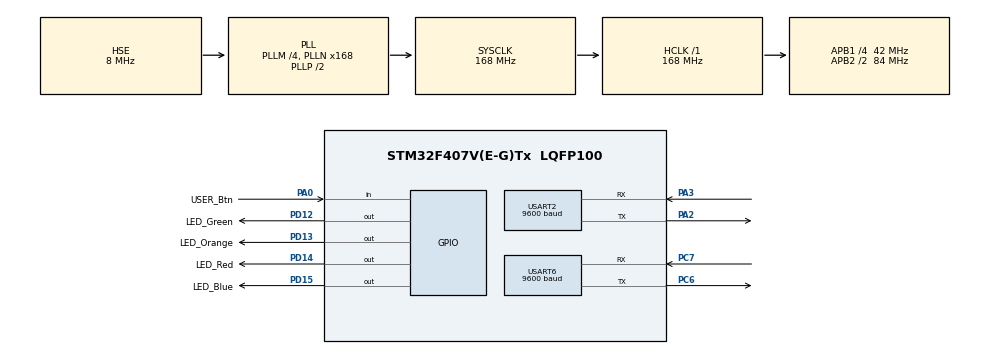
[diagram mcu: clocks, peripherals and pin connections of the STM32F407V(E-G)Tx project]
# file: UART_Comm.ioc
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Dma.Request0=USART2_RX
Dma.USART2_RX.0.Direction=DMA_PERIPH_TO_MEMORY
Dma.USART2_RX.0.FIFOMode=DMA_FIFOMODE_DISABLE
Dma.USART2_RX.0.Instance=DMA1_Stream5
Dma.USART2_RX.0.MemDataAlignment=DMA_MDATAALIGN_BYTE
Dma.USART2_RX.0.MemInc=DMA_MINC_ENABLE
Dma.USART2_RX.0.Mode=DMA_CIRCULAR
Dma.USART2_RX.0.PeriphDataAlignment=DMA_PDATAALIGN_BYTE
Dma.USART2_RX.0.PeriphInc=DMA_PINC_DISABLE
Dma.USART2_RX.0.Priority=DMA_PRIORITY_LOW
Mcu.Family=STM32F4
Mcu.Name=STM32F407V(E-G)Tx
Mcu.Package=LQFP100
NVIC.DMA1_Stream5_IRQn=true\:0\:0\:false\:false\:true\:false\:true\:true
NVIC.PriorityGroup=NVIC_PRIORITYGROUP_4
NVIC.USART2_IRQn=true\:0\:0\:false\:false\:true\:true\:true\:true
NVIC.USART6_IRQn=true\:0\:0\:false\:false\:true\:true\:true\:true
PA0-WKUP.GPIO_Label=USER_Btn
PA0-WKUP.Signal=GPIO_Input
PA13.Mode=Serial_Wire
PA13.Signal=SYS_JTMS-SWDIO
PA14.Mode=Serial_Wire
PA14.Signal=SYS_JTCK-SWCLK
PA2.Mode=Asynchronous
PA2.Signal=USART2_TX
PA3.Mode=Asynchronous
PA3.Signal=USART2_RX
PC6.Mode=Asynchronous
PC6.Signal=USART6_TX
PC7.Mode=Asynchronous
PC7.Signal=USART6_RX
PD12.GPIO_Label=LED_Green
PD12.Signal=GPIO_Output
PD13.GPIO_Label=LED_Orange
PD13.Signal=GPIO_Output
PD14.GPIO_Label=LED_Red
PD14.Signal=GPIO_Output
PD15.GPIO_Label=LED_Blue
PD15.Signal=GPIO_Output
PH0-OSC_IN.Mode=HSE-External-Oscillator
PH0-OSC_IN.Signal=RCC_OSC_IN
PH1-OSC_OUT.Mode=HSE-External-Oscillator
PH1-OSC_OUT.Signal=RCC_OSC_OUT
ProjectManager.HeapSize=0x200
ProjectManager.StackSize=0x400
ProjectManager.TargetToolchain=STM32CubeIDE
RCC.48MHZClocksFreq_Value=84000000
RCC.AHBFreq_Value=168000000
RCC.APB1CLKDivider=RCC_HCLK_DIV4
RCC.APB1Freq_Value=42000000
RCC.APB1TimFreq_Value=84000000
RCC.APB2CLKDivider=RCC_HCLK_DIV2
RCC.APB2Freq_Value=84000000
RCC.APB2TimFreq_Value=168000000
RCC.CortexFreq_Value=168000000
RCC.HCLKFreq_Value=168000000
RCC.HSE_VALUE=8000000
RCC.HSI_VALUE=16000000
RCC.LSE_VALUE=32768
RCC.PLLM=4
RCC.PLLN=168
RCC.PLLSourceVirtual=RCC_PLLSOURCE_HSE
RCC.SYSCLKFreq_VALUE=168000000
RCC.SYSCLKSource=RCC_SYSCLKSOURCE_PLLCLK
RCC.VCOOutputFreq_Value=336000000
USART2.BaudRate=9600
USART2.OverSampling=UART_OVERSAMPLING_8
USART2.VirtualMode=VM_ASYNC
USART2.WordLength=WORDLENGTH_8B
USART6.BaudRate=9600
USART6.VirtualMode=VM_ASYNC
board=custom

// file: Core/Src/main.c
/* USER CODE BEGIN Header */
/**
  ******************************************************************************
  * @file           : main.c
  * @brief          : Main program body
  ******************************************************************************
  * @attention
  *
  * Copyright (c) 2023 STMicroelectronics.
  * All rights reserved.
  *
  * This software is licensed under terms that can be found in the LICENSE file
  * in the root directory of this software component.
  * If no LICENSE file comes with this software, it is provided AS-IS.
  *
  ******************************************************************************
  */
/* USER CODE END Header */
#include "main.h"
#include "dma.h"
#include "usart.h"
#include "gpio.h"

/* USER CODE BEGIN Includes */
#include "string.h"

/* USER CODE END Includes */

/* USER CODE BEGIN PV */
uint8_t rxRecBuf[1];
uint8_t rx6RecBuf[1];

uint8_t rxTempBuf[255];
uint8_t	rxTempBufIndex = 0;

uint8_t rx6TempBuf[255];
uint8_t	rx6TempBufIndex = 0;

uint8_t txData = 0;
uint8_t txHexData[] = {0x61, 0x6c, 0x69};
//uint8_t txBuf[30] = "Hi Everyone\n\r";

/* USER CODE END PV */

void SystemClock_Config(void);

int main(void)
{

  /* MCU Configuration--------------------------------------------------------*/

  /* Reset of all peripherals, Initializes the Flash interface and the Systick. */
  HAL_Init();

  /* Configure the system clock */
  SystemClock_Config();

  /* Initialize all configured peripherals */
  MX_GPIO_Init();
  MX_DMA_Init();
  MX_USART2_UART_Init();
  MX_USART6_UART_Init();
  /* USER CODE BEGIN 2 */
//  HAL_UART_Transmit(&huart2, txBuf, sizeof(txBuf), 1000);
  HAL_UART_Receive_IT(&huart2, rxRecBuf, 1);
  HAL_UART_Receive_IT(&huart6, rx6RecBuf, 1);
  HAL_UART_Transmit(&huart2, txHexData, sizeof(txHexData), 10);
  HAL_UART_Transmit(&huart2, txHexData, sizeof(txHexData), 10);

  /* USER CODE END 2 */

  /* Infinite loop */
  /* USER CODE BEGIN WHILE */
  while (1)
  {
	  if(HAL_GPIO_ReadPin(USER_Btn_GPIO_Port, USER_Btn_Pin) == GPIO_PIN_SET)
	  {
		  HAL_GPIO_WritePin(GPIOD, LED_Green_Pin|LED_Orange_Pin|LED_Red_Pin|LED_Blue_Pin, GPIO_PIN_RESET);
	  }

	  ++txData;
	  HAL_UART_Transmit_IT(&huart2, &txData, 1);
	  HAL_UART_Transmit_IT(&huart6, &txData, 1);
//	  HAL_Delay(250);

    /* USER CODE END WHILE */

    /* USER CODE BEGIN 3 */
//	  HAL_UART_Transmit(&huart2, txBuf, sizeof(txBuf), 100);
	  HAL_Delay(500);

  }
  /* USER CODE END 3 */
}

void SystemClock_Config(void)
{
  RCC_OscInitTypeDef RCC_OscInitStruct = {0};
  RCC_ClkInitTypeDef RCC_ClkInitStruct = {0};

  /** Configure the main internal regulator output voltage
  */
  __HAL_RCC_PWR_CLK_ENABLE();
  __HAL_PWR_VOLTAGESCALING_CONFIG(PWR_REGULATOR_VOLTAGE_SCALE1);

  /** Initializes the RCC Oscillators according to the specified parameters
  * in the RCC_OscInitTypeDef structure.
  */
  RCC_OscInitStruct.OscillatorType = RCC_OSCILLATORTYPE_HSE;
  RCC_OscInitStruct.HSEState = RCC_HSE_ON;
  RCC_OscInitStruct.PLL.PLLState = RCC_PLL_ON;
  RCC_OscInitStruct.PLL.PLLSource = RCC_PLLSOURCE_HSE;
  RCC_OscInitStruct.PLL.PLLM = 4;
  RCC_OscInitStruct.PLL.PLLN = 168;
  RCC_OscInitStruct.PLL.PLLP = RCC_PLLP_DIV2;
  RCC_OscInitStruct.PLL.PLLQ = 4;
  if (HAL_RCC_OscConfig(&RCC_OscInitStruct) != HAL_OK)
  {
    Error_Handler();
  }

  /** Initializes the CPU, AHB and APB buses clocks
  */
  RCC_ClkInitStruct.ClockType = RCC_CLOCKTYPE_HCLK|RCC_CLOCKTYPE_SYSCLK
                              |RCC_CLOCKTYPE_PCLK1|RCC_CLOCKTYPE_PCLK2;
  RCC_ClkInitStruct.SYSCLKSource = RCC_SYSCLKSOURCE_PLLCLK;
  RCC_ClkInitStruct.AHBCLKDivider = RCC_SYSCLK_DIV1;
  RCC_ClkInitStruct.APB1CLKDivider = RCC_HCLK_DIV4;
  RCC_ClkInitStruct.APB2CLKDivider = RCC_HCLK_DIV2;

  if (HAL_RCC_ClockConfig(&RCC_ClkInitStruct, FLASH_LATENCY_5) != HAL_OK)
  {
    Error_Handler();
  }
}

/* USER CODE BEGIN 4 */
void HAL_UART_TxCpltCallback(UART_HandleTypeDef *huart){

	if(huart->Instance == USART2){

	}

}

void HAL_UART_RxCpltCallback(UART_HandleTypeDef *huart){

	if(huart->Instance == USART2){

		rxTempBuf[++rxTempBufIndex] = rxRecBuf[0];
		HAL_UART_Receive_IT(&huart2, rxRecBuf, 1);

		if(rxRecBuf[0] == 111){
			HAL_GPIO_WritePin(LED_Orange_GPIO_Port, LED_Orange_Pin, GPIO_PIN_SET);
		}
		else if(rxRecBuf[0] == 114){
			HAL_GPIO_WritePin(LED_Red_GPIO_Port, LED_Red_Pin, GPIO_PIN_SET);
		}
		else if(rxRecBuf[0] == 103){
			HAL_GPIO_WritePin(LED_Green_GPIO_Port, LED_Green_Pin, GPIO_PIN_SET);
		}
		else if(rxRecBuf[0] == 98){
			HAL_GPIO_WritePin(LED_Blue_GPIO_Port, LED_Blue_Pin, GPIO_PIN_SET);
		}

	}

	if(huart->Instance == USART6){

			rx6TempBuf[++rx6TempBufIndex] = rx6RecBuf[0];
			HAL_UART_Receive_IT(&huart6, rx6RecBuf, 1);

		}

}

/* USER CODE END 4 */

void Error_Handler(void)
{
  __disable_irq();
  while (1)
  {
  }
}
